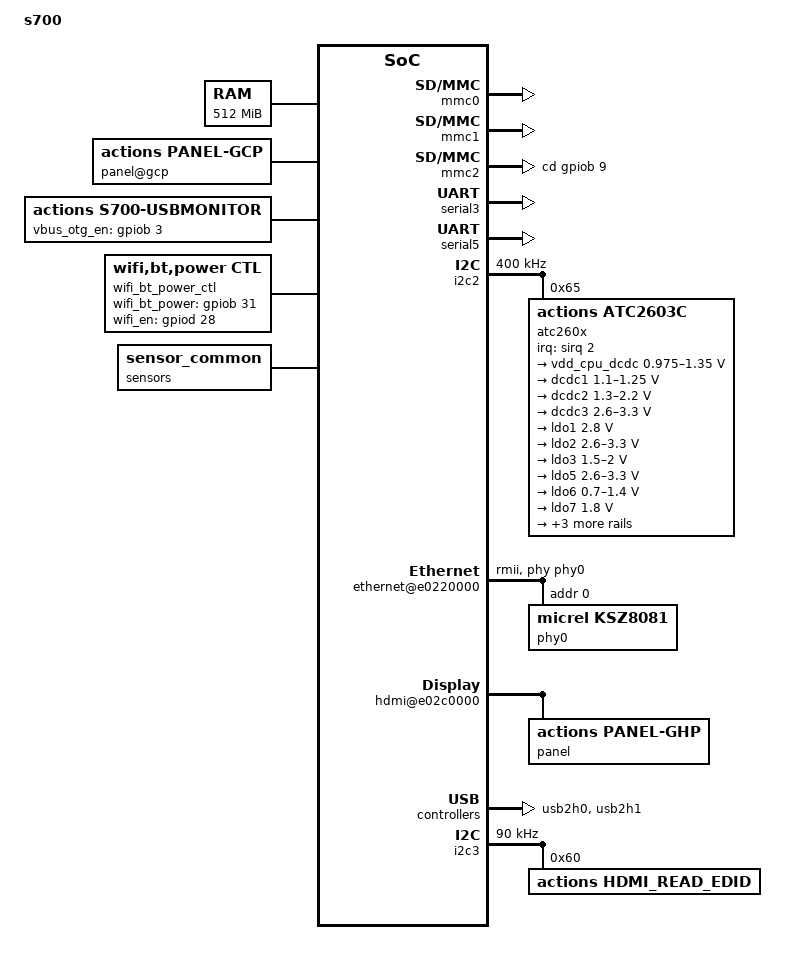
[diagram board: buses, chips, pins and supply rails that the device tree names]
/*
 * Copyright (C) 2014 Actions Semi. Inc
 *
 * This program is free software; you can redistribute it and/or
 * modify it under the terms of the GNU General Public License as
 * published by the Free Software Foundation version 2.
 *
 * This program is distributed "as is" WITHOUT ANY WARRANTY of any
 * kind, whether express or implied; without even the implied warranty
 * of MERCHANTABILITY or FITNESS FOR A PARTICULAR PURPOSE.  See the
 * GNU General Public License for more details.
 */

/dts-v1/;

/* reserve 48MB for logo(fb) */
/memreserve/ 0x19000000 0x03000000;


/* reserve 430MB for ion1(pmem) */
/memreserve/ 0x20000000 0x1AE00000;

/* reserve 4k for afinfo */
/memreserve/ 0x18FFF000 0x1000;

#include "s700.dtsi"

/ {
	model = "s700";
	compatible = "actions,s700";

	chosen {
		bootargs="fb_logo_reserve=0x19000000,0x03000000 console=ttyS5,115200 earlyprintk=serial-owl,0xe012a000 no_console_suspend  loglevel=5";
	};
	cpus {
		CPU0: cpu@0 {
			cpuvdd-supply = <&vdd_cpu_dcdc>;
		};
	};

	memory@00000000 {
		device_type = "memory";
		reg = <0 0x00000000 0 0x20000000>;
	};

	ion_config {
		compatible = "actions,s900-ion";
		actions,ion_heap_pmem_base = <0x0 0x20000000>;
		actions,ion_heap_pmem_size = <0x0 0x1AE00000>;
	};

	mmc0: mmc@e0218000 {
		card-type = "emmc";
		status = "okay";
	};

	mmc1: mmc@e0214000 {
		card-type = "wifi";
		wifi-card-voltage = "1.8v";  /* only: "1.8v", "3.1v" */
		status = "okay";
	};

	mmc2: mmc@e0210000 {
		card-type = "memory";  /* only: "memory", "wifi", or "emmc" */
		card-detect-mode = "gpio";  /* only:"gpio", or "command" */
		cd-gpios = <&gpiob 9 0>; /*cd-gpios = <&gpiod 21 0> ;black GT7*/
		sd_vcc = "switch1";
		status = "okay";
	};

	serial3: uart@e0126000 {
		status = "okay";
	};
	serial5: uart@e012a000 {
		status = "okay";
	};

	i2c2: i2c@e0178000 {
		status = "okay";
	};


	pwm: pwm@e01b0000 {
		pwm1 {
			id = <1>;
			pinctrl-names = "default";
			pinctrl-0 = <&pwm1_state_default>;
		};
		pwm2 {
			id = <2>;
			pinctrl-names = "default";
			pinctrl-0 = <&pwm2_state_default>;
		};
	};

	de@e02e0000 {
		is_ott = <1>;
	};

	backlight {
		status = "disabled";
	};

	dsi: dsi@e0310000 {
		status = "disabled";
	};

	/*
	ethernet_gpio_regulator: ethernet_gpio_regulator {
		compatible = "regulator-fixed";
		regulator-name = "ethernet_gpio_regulator";
		regulator-min-microvolt = <3300000>;
		regulator-max-microvolt = <3300000>;
		gpio = <&gpioc 21 0>;
		enable-active-high;
	};
	*/

	ethernet@e0220000 {
		pinctrl-names = "default";
		pinctrl-0 = <&ethernet_state_default>;
		//random-mac-address = "okay";
		//local-mac-address = [ 00 18 fe 66 66 66 ];
		phy-mode = "rmii";
		phy-power-en = "ldo5";
		phy-addr = "3";
		phy-handle = <&phy0>;
		address-bits = <48>;
		max-frame-size = <1518>;
		status = "okay";
		phy0: ethernet-phy@0 {
			compatible = "micrel,ksz8081";
			reg = <0>;
		};
	};

	hdmi@e02c0000 {
		hdcp_onoff = <0>;
		channel_invert = <0>;
		bit_invert = <0>;

		panel@ghp {
			compatible = "actions,panel-ghp";

			is_primary = <1>;

			draw_width = <1920>;
			draw_height = <1080>;
		};
	};
	cvbs@e02b0000 {
		compatible = "actions,s700-cvbs", "simple-bus";
		reg = <0 0xe02b0000 0 0x80>;
		reg-names = "regs";
		clocks = <&clock CLK_TVOUT>, <&clock CLK_CVBS_PLL>;
		clock-names = "tvout", "cvbs_pll";

		interrupts = <GIC_SPI 47 IRQ_TYPE_LEVEL_HIGH>;
		resets = <&reset RESET_TVOUT>;
		reset-names = "cvbs";

		panel@gcp {
			compatible = "actions,panel-gcp";

			is_primary = <1>;

			draw_width = <1920>;
			draw_height = <1080>;
			videomode-0 = <&def_mode>;

			def_mode:videomode {
				xres = <720>;
				yres = <576>;
				refresh_rate = <25>;
			};
		};
	};

	monitor {
		compatible = "actions,s700-usbmonitor";
		detect_type = <3>; /* config what to detect, 0:DISABLE ; 1:DEVICE_ONLY; 2:HOST_ONLY; 3: HOST_AND_DEVICE*/
		idpin_type   = <0>; /* 0:use ic's idpin;      1:soft idpin,##no support!##;       2:gpio idpin,use gpio to detect,need to add a "idpin_gpio" configuration */
		vbus_type   = <2>; /* 0:use ic's vbuspin; 1:gpio vbus,##no support!## ;      2:use dc5v to detect vbus level*/
		idpin_debug	= <0>; /* 0: idpin state is host;	1: idpin state is device */

		/*vbus_otg_en_gpio is use to turn on/off otg vbus,it's different from vbus detect gpio;*/
		vbus_otg_en_gpios = <&gpiob 3 0>;  /* GPIOB3 not use for gt7 ebox,  1: low active; 0: high active */
		//idpin_gpio = <&gpiob 31 1>;   /*if idpin detect by gpio,config the gpio to GPIOB31, input,0: low active; 1: high active*/
		status = "okay";
	};

	owl_usb_config {
		compatible = "actions,owl-usb-config";
		usb_serialnumber_config = <2>; /* config serialnumber string format, 0: fixed serial no in ascii format; 1: fixed serial no in unicode format; 2:non-fixed serial no in unicode format*/
		usb_hs_output_strength = <3>; /*defaut:3,range:0~7; 0:min,7:max;usb high speed(2.0)transmitter output strength*/
		status = "okay";
	};

 	usb2h0: usb@e01d0000 {
		port_host_plug_detect = <2>; /*0:disable 1:enable detect and vbus contrl 2:only detect 3:enable detect and usb0 and usb1 use the same gpio*/
		status = "okay";
	};

	usb2h1: usb@e01d8000 {
		vbus_otg_en_gpio =<&gpiob 31 0>; /*GPIO B31 1:high enable vubs,0:low enable vbus*/
		port_host_plug_detect = <0>; /*0:disable 1:enable detect and vbus contrl 2:only detect 3:enable detect and usb0 and usb1 use the same gpio*/
		status = "okay";
	};

	owl_aotg_config {
                compatible = "actions,owl-aotg-config";
                usb_cam_shield1 = "e01d0000";
                usb_cam_shield2 = "e01d8000";
        };

		wifi_bt_power_ctl {
                    compatible = "wifi,bt,power,ctl";
                    wifi_use_usb_port_number = <1>;
                    wifi_bt_power_gpios = <&gpiob 31 0>;  /*GPIOb3, high active*/
                    wifi_en_gpios= <&gpiod 28 0>;	/*GPIOD28, high active*/
                    //bt_en_gpios = <&gpiod 31 0>; /*GPIOD31, high active*/
                    vendor_size = <11>;
                    /* wifi vendor 0xaabb, aa:interface, 00:usb, 01:sdio; bb:wifi vendor id */
                    wifi_vendor = <0x0000 0x0101 0x0102 0x0103 0x0104 0x0105 0x0006 0x0110 0x0111 0x0112 0x0113>;
		};

		i2c2: i2c@e0178000 {
		i2c_num = <0>;
		clock-frequency = <400000>;
		status = "okay";
		/* atc2603c (5307) */
		atc260x: atc2603c@65 {
			compatible = "actions,atc2603c";
			reg = <0x65>;
			interrupt-parent = <&sirq>;
			interrupts =< 2 0x4 >;
			interrupt-controller;
			#interrupt-cells = <1>;

			losc_32k_output_enable = <1>;    /* enable/disable output 32.768K clock via I2S_MCLK1 pin */
			losc_32k_output_voltage = <18>;  /* select voltage scale of the 32.768K clock output, 18:1.8v, 31:3.1v */
			board_flag = <1>;
			pm {
				compatible = "actions,atc2603c-pm";
			};

			onoff {
				compatible = "actions,atc2603c-onoff";
			};

			rtc{
				compatible = "actions,atc2603c-rtc";
			};

			atc260x_gpio: atc260x_gpio {
				compatible = "actions,atc2603c-gpio";
				gpio-controller;
				#gpio-cells = <2>;
			};

			atc260x_sgpio: atc260x_sgpio {
				compatible = "actions,atc2603c-sgpio";
				gpio-controller;
				#gpio-cells = <2>;
				interrupt-controller;
				#interrupt-cells = <2>;
			};

			atc260x-irkeypad{
				compatible = "actions,atc2603c-irkeypad";
				status = "okay";
				config {
					size = <45>;
					user_code = <0xff40>;
					protocol = <1>;
					wk_code = <0x4D>;
					period = <140>;
					ir_code  =<0x0 0x01 0x02 0x03 0x04 0x05 0x06 0x07 0x08 0x09  0x0A  0x0B  0x0C  0x0D  0x0E  0x0F  0x10 0x11  0x12 0x13 0x14 0x15  0x16 0x17 0x18 0x19 0x1A  0x1B 0x1C  0x1D 0x1E 0x1F 0x40 0x41 0x42  0x43  0x44 0x45  0x46 0x47 0x4D  0x53 0x54  0x57 0x5B>;
					key_code =<11   2   3    4    5    6    7    8    9 	 10 	 100    103  126   353   108   52    105  106    14   60   63  115    80   61   65   76   172   78   114   97   79   75   77  81   158    113  65   139   64   71   116   72   175   82   73>;
				};
				config-1 {
					size = <45>;
					user_code = <0xff40>;
					protocol = <1>;
					wk_code = <0x4D>;
					period = <140>;
					ir_code  =<0x0 0x01 0x02 0x03 0x04 0x05 0x06 0x07 0x08 0x09  0x0A  0x0B  0x0C  0x0D  0x0E  0x0F  0x10 0x11  0x12 0x13 0x14 0x15  0x16 0x17 0x18 0x19 0x1A  0x1B 0x1C  0x1D 0x1E 0x1F 0x40 0x41 0x42  0x43  0x44 0x45  0x46 0x47 0x4D  0x53 0x54  0x57 0x5B>;
					key_code =<11   2   3    4    5    6    7    8    9 	 10 	 100    103  126   353   108   52    105  106    14   60   63  115    80   61   65   76   172   78   114   97   79   75   77  81   158    113  65   139   64   71   116   72   175   82   73>;
				};
			};

			/*the cfg params must be read	in the first installed ko,
			 now snd-soc-atv5302.ko is first installed.
			 1, earphone_detect_level use the third value of earphone_gpios
			 2, commonly, we shouldn't change the value of speaker_gain and earphone_gain*/
			atc260x-audio{
				compatible = "actions,atc2603c-audio";
				status = "okay";
				pinctrl-names = "default";
				pinctrl-0 = <&i2s0_state_default>;
				clocks = <&clock CLK_AUDIO_PLL>, <&clock CLK_HDMI_AUDIO>;//
				clock-names = "audio_pll", "hdmia";//
				//earphone_detect_gpios = <&gpio 21 0>; /*0: high, 1: low GPIOA21 0*/
				speaker_en_gpios = <&gpiod 30 0>; /*GPIOD(30) 0: high, 1: low*/
				earphone_output_mode = <1>; /*0: direct mode, 1: undirect mode*/
				mic_num = <1>; /*just suport 1, 2*/
				mic0_gain = < 0x7 0x7 >; /*<Lchannel,Rchannel> [0x0~0xF]*/
				speaker_gain = < 0xaa 0xaa >; /*<Lchannel,Rchannel>[0x00~0xbebe]*/
				earphone_gain = < 0xbe 0xbe >; /*<Lchannel,Rchannel>[0x00~0xbebe]*/
				mic_mode = <2>; /* 1: differential,  2: single end*/
				speaker_volume = < 0x28 0x28 >; /*volume [0x00~0x28]*/
				earphone_volume = < 0x28 0x28 >; /*volume [0x00~0x28]*/
			};

			atc260x-hwmon{
				compatible = "actions,atc2603c-hwmon";
			};

			atc260x-charger{
				compatible = "actions,atc2603c-charger";
				rsense = <20>;/*unit:mohm*/
				bat_type = <1>;/*0:4.18v; 1:4.2v; 2:4.3v; 3:4.35v*/
				bl_on_current_usb_pc = <200>;
				bl_off_current_usb_pc = <500>;
				bl_on_current_usb_adp = <400>;
				bl_off_current_usb_adp = <800>;
				bl_on_current_wall_adp = <400>;
				bl_off_current_wall_adp = <1400>;
				support_adaptor_type = <3>; /*1: DCIN  2: USB  3:DCIN+USB*/
				ext_charger = <0>;
				usb_adapter_as_ac = <1>;/*0:usb ada keep itself; 1:usb ada used as DCIN when usb plug and batv<3.3v during minicharge*/
				usb_pc_ctl_mode = <1>; /*0:disable vbus ctl;1:current limited;2:voltage limited*/
			};

			vdd_cpu_dcdc: vdd-cpu-dcdc {
				compatible = "actions,atc2603c-ext-pwm-dcdc1","actions,atc2603c-ext-pwm-dcdc";
				regulator-name = "vdd-cpu-dcdc";
				regulator-min-microvolt  = <975000>;
				regulator-max-microvolt = <1350000>;
				regulator-always-on;
				pwms = <&pwm 1 2666 0>;	// 1-pwm1   2666-1/(24M/64)*1000000-1   0 -active high
				table_len = < 14 >;			//length of vdd_cpu_table & pwm_config_table
				vdd_cpu_table = <975000 1000000 1025000 1050000 1075000 1100000 1125000 1150000 1175000 1200000 1225000 1250000 1300000 1350000>;	//uV
				pwm_config_table = <16 15 14 13 12 11 10 9 8 7 6 5 4 3>;	//the pwm period of 1.1v 1.2v 1.3v
				aux=<2>;
				pwm_revise = <1>;
			};
/*
			vdd_core_dcdc: vdd-core-dcdc {
				compatible = "actions,atc2603c-ext-pwm-dcdc2","actions,atc2603c-ext-pwm-dcdc";
				regulator-name = "vdd-core-dcdc";
				regulator-min-microvolt  = <900000>;
				regulator-max-microvolt = <1250000>;
				regulator-always-on;
				pwms = <&pwm 2 2666 0>;	// 1-pwm1   2666-1/(24M/64)*1000000-1   0 -active high
				table_len = < 15 >;			//length of vdd_cpu_table & pwm_config_table
				vdd_cpu_table = <900000 925000 950000 975000 1000000 1025000 1050000 1075000 1100000 1125000 1150000 1175000 1200000 1225000 1250001>;	//uV
				pwm_config_table = <19 18 17 16 15 14 13 12 11 10 9 8 7 6 5>;	//the pwm period of 1.1v 1.2v 1.3v
			};
*/
			dcdc1: dcdc1 {
				compatible = "actions,atc2603c-dcdc1","actions,atc2603c-dcdc";
				regulator-name = "dcdc1";
				regulator-min-microvolt = <1100000>;
				regulator-max-microvolt = <1250000>;
				regulator-always-on;
			};

			dcdc2: dcdc2 {
				compatible = "actions,atc2603c-dcdc2","actions,atc2603c-dcdc";
				regulator-name = "dcdc2";
				regulator-min-microvolt = <1300000>;
				regulator-max-microvolt = <2200000>;
				regulator-always-on;
			};

			dcdc3: dcdc3 {
				compatible = "actions,atc2603c-dcdc3","actions,atc2603c-dcdc";
				regulator-name = "dcdc3";
				regulator-min-microvolt = <2600000>;
				regulator-max-microvolt = <3300000>;
				regulator-always-on;
			};

			dcdc4: dcdc4 {
				status = "disabled";
			};

			dcdc5: dcdc5 {
				status = "disabled";
			};

			ldo1: ldo1{
				compatible = "actions,atc2603c-ldo1","actions,atc2603c-ldo";
				regulator-name = "ldo1";
				regulator-min-microvolt  = <2800000>;
				regulator-max-microvolt = <2800000>;
				regulator-always-on;
			};

			ldo2: ldo2{
				compatible = "actions,atc2603c-ldo2","actions,atc2603c-ldo";
				regulator-name = "ldo2";
				regulator-min-microvolt  = <2600000>;
				regulator-max-microvolt = <3300000>;
				regulator-always-on;
			};

			ldo3: ldo3{
				compatible = "actions,atc2603c-ldo3","actions,atc2603c-ldo";
				regulator-name = "ldo3";
				regulator-min-microvolt  = <1500000>;
				regulator-max-microvolt = <2000000>;
				regulator-always-on;
			};

			ldo4: ldo4{
				status = "disabled";
			};

			ldo5: ldo5{
				compatible = "actions,atc2603c-ldo5","actions,atc2603c-ldo";
				regulator-name = "ldo5";
				regulator-min-microvolt  = <2600000>;
				regulator-max-microvolt = <3300000>;
			};

			ldo6: ldo6{
				compatible = "actions,atc2603c-ldo6","actions,atc2603c-ldo";
				regulator-name = "ldo6";
				regulator-min-microvolt  = <700000>;
				regulator-max-microvolt = <1400000>;
				regulator-always-on;
			};

			ldo7: ldo7{
				compatible = "actions,atc2603c-ldo7","actions,atc2603c-ldo";
				regulator-name = "ldo7";
				regulator-min-microvolt  = <1800000>;
				regulator-max-microvolt = <1800000>;
				regulator-always-on;
				regulator-suspend-off;
			};

			ldo8: ldo8{
				compatible = "actions,atc2603c-ldo8","actions,atc2603c-ldo";
				regulator-name = "ldo8";
				regulator-min-microvolt  = <2300000>;
				regulator-max-microvolt = <3300000>;
			};

			ldo9: ldo9{
				status = "disabled";
			};

			ldo10: ldo10{
				status = "disabled";
			};

			ldo11: ldo11{
				compatible = "actions,atc2603c-ldo11","actions,atc2603c-ldo";
				regulator-name = "ldo11";
				regulator-min-microvolt  = <2600000>;
				regulator-max-microvolt = <3300000>;
				regulator-always-on;
			};

			switch1:switch1{
				compatible = "actions,atc2603c-switch1","actions,atc2603c-switch";
				regulator-name = "switch1";
				regulator-min-microvolt  = <3000000>;
				regulator-max-microvolt = <3300000>;
				regulator-always-on;
			};

			switch2:switch2{
				status = "disabled";
			};
		};
	};

	i2c3: i2c@e017c000 {
		i2c_num = <3>;
		clock-frequency = <90000>;
		status = "okay";

		hdmi_read_edid@60 {
			compatible = "actions,hdmi_read_edid";
			reg = <0x60>;
		};
	};

	isp0: isp@0xe0268000 {
			mirror_flip = <3>;  /* bit-0:rear camera; bit-1:front camera; 0: no flip,no mirror; 1: no flip,horizontal mirror; 2:vertical flip,no mirror; 3: vertical flip,horizontal mirror */

			avdd-src = "regulator";  /* only: "gpio", "regulator" */
		        avdd-regulator = "ldo1"; /* only when vbus-src is "regulator" */
		        avdd-regulator-scope = <2800000 2810000>;  /* uV */
		        dvdd-regulator = "ldo7";
		        dvdd-regulator-scope = <1800000 1810000>;  /* uV */

			board_type = "evb";/* "ces" or "evb"*/
			sensors = "dual"; /* "dual", "front" or "rear" */
			pwdn-rear-gpios = <&gpioc 17 1>; /* GPIOA27 */
			pwdn-front-gpios = <&gpioc 15 1>; /* GPIOA26 */
			reset-gpios = <&gpioc 16 1>; /*GPIOB15*/
			pinctrl-names = "default";
			pinctrl-0 = <&isp0_state_csi_dvp>;

			status = "okay"; /* create platform-device */
		};

		sensors: isp-sensor {
			compatible = "sensor_common";
			i2c_adapter = <&i2c2>; /* 0-3 begin from enabled ones */

			status = "okay";
		};

		thermal0: thermal@e01b00f0 {
			compatible = "actions,gt7-thermal";
			reg = <0 0xe01b00f0 0 0x04>;
			id = <0>;
			//clocks = <&clock CLK_THERMAL_SENSOR>;
			clocks = <&clock CLK_THERMAL_SENSOR>;
			clock-names = "thermal_sensor";
		};

	gpu@e0340000 {
		default_freq = <400>;

		operating-points = <240000 1050000
                            320000 1075000
                            400000 1100000
                            480000 1125000>;
		gpuvdd-supply = <&dcdc1>;
	};

	vce@e0288000{
		corevdd-supply = <&dcdc1>;
	};

	vde@e0280000{
		corevdd-supply = <&dcdc1>;
	};

	hde@e0270000{
		corevdd-supply = <&dcdc1>;
	};
};
